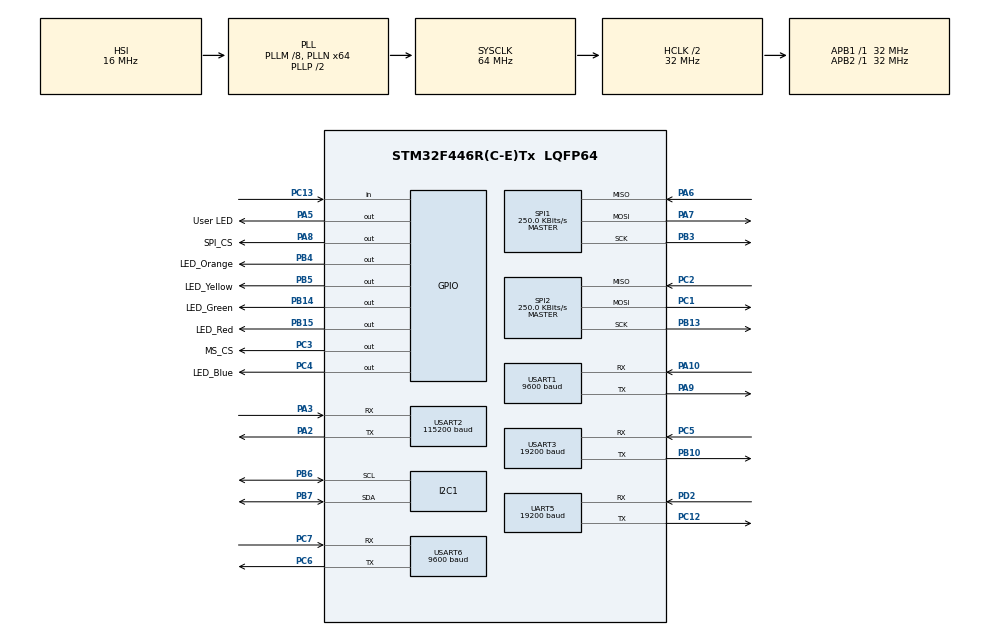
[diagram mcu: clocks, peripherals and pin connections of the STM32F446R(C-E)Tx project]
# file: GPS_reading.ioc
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IWDG.Prescaler=IWDG_PRESCALER_64
IWDG.Reload=2449
Mcu.Family=STM32F4
Mcu.Name=STM32F446R(C-E)Tx
Mcu.Package=LQFP64
NVIC.PriorityGroup=NVIC_PRIORITYGROUP_4
NVIC.USART1_IRQn=true\:0\:0\:true\:false\:true\:true\:true
NVIC.USART6_IRQn=true\:0\:0\:true\:false\:true\:true\:true
PA10.Mode=Asynchronous
PA10.Signal=USART1_RX
PA2.Mode=Asynchronous
PA2.Signal=USART2_TX
PA3.Mode=Asynchronous
PA3.Signal=USART2_RX
PA5.GPIO_Label=User LED
PA5.Signal=GPIO_Output
PA6.Mode=Full_Duplex_Master
PA6.Signal=SPI1_MISO
PA7.Mode=Full_Duplex_Master
PA7.Signal=SPI1_MOSI
PA8.GPIO_Label=SPI_CS
PA8.Signal=GPIO_Output
PA9.Mode=Asynchronous
PA9.Signal=USART1_TX
PB10.Mode=Asynchronous
PB10.Signal=USART3_TX
PB13.Mode=Full_Duplex_Master
PB13.Signal=SPI2_SCK
PB14.GPIO_Label=LED_Green
PB14.Signal=GPIO_Output
PB15.GPIO_Label=LED_Red
PB15.Signal=GPIO_Output
PB3.Mode=Full_Duplex_Master
PB3.Signal=SPI1_SCK
PB4.GPIO_Label=LED_Orange
PB4.Signal=GPIO_Output
PB5.GPIO_Label=LED_Yellow
PB5.Signal=GPIO_Output
PB6.Mode=I2C
PB6.Signal=I2C1_SCL
PB7.Mode=I2C
PB7.Signal=I2C1_SDA
PC1.Mode=Full_Duplex_Master
PC1.Signal=SPI2_MOSI
PC12.Mode=Asynchronous
PC12.Signal=UART5_TX
PC13.Signal=GPIO_Input
PC2.Mode=Full_Duplex_Master
PC2.Signal=SPI2_MISO
PC3.GPIO_Label=MS_CS
PC3.Signal=GPIO_Output
PC4.GPIO_Label=LED_Blue
PC4.Signal=GPIO_Output
PC5.Mode=Asynchronous
PC5.Signal=USART3_RX
PC6.Mode=Asynchronous
PC6.Signal=USART6_TX
PC7.Mode=Asynchronous
PC7.Signal=USART6_RX
PD2.Mode=Asynchronous
PD2.Signal=UART5_RX
ProjectManager.HeapSize=0x200
ProjectManager.StackSize=0x400
ProjectManager.TargetToolchain=STM32CubeIDE
RCC.AHBCLKDivider=RCC_SYSCLK_DIV2
RCC.AHBFreq_Value=32000000
RCC.APB1Freq_Value=32000000
RCC.APB1TimFreq_Value=32000000
RCC.APB2Freq_Value=32000000
RCC.APB2TimFreq_Value=32000000
RCC.CortexFreq_Value=32000000
RCC.HCLKFreq_Value=32000000
RCC.PLLM=8
RCC.PLLN=64
RCC.SYSCLKFreq_VALUE=64000000
RCC.SYSCLKSource=RCC_SYSCLKSOURCE_PLLCLK
RCC.USBFreq_Value=64000000
RCC.VCOOutputFreq_Value=128000000
SPI1.BaudRatePrescaler=SPI_BAUDRATEPRESCALER_128
SPI1.CalculateBaudRate=250.0 KBits/s
SPI1.Direction=SPI_DIRECTION_2LINES
SPI1.Mode=SPI_MODE_MASTER
SPI1.VirtualType=VM_MASTER
SPI2.BaudRatePrescaler=SPI_BAUDRATEPRESCALER_128
SPI2.CalculateBaudRate=250.0 KBits/s
SPI2.Direction=SPI_DIRECTION_2LINES
SPI2.Mode=SPI_MODE_MASTER
SPI2.VirtualType=VM_MASTER
UART5.BaudRate=19200
UART5.VirtualMode=Asynchronous
USART1.BaudRate=9600
USART1.VirtualMode=VM_ASYNC
USART2.BaudRate=115200
USART2.VirtualMode=VM_ASYNC
USART3.BaudRate=19200
USART3.Mode=MODE_TX_RX
USART3.VirtualMode=VM_ASYNC
USART6.BaudRate=9600
USART6.Mode=MODE_TX_RX
USART6.VirtualMode=VM_ASYNC
VP_IWDG_VS_IWDG.Mode=IWDG_Activate
board=custom

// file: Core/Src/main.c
/* USER CODE BEGIN Header */
/**
  ******************************************************************************
  * @file           : main.c
  * @brief          : Main program body
  ******************************************************************************
  * @attention
  *
  * Copyright (c) 2022 STMicroelectronics.
  * All rights reserved.
  *
  * This software is licensed under terms that can be found in the LICENSE file
  * in the root directory of this software component.
  * If no LICENSE file comes with this software, it is provided AS-IS.
  *
  ******************************************************************************
  */
/* USER CODE END Header */
#include "main.h"

/* USER CODE BEGIN Includes */
#include <stdbool.h>
#include <stdlib.h>
#include "am2320.h"
#include <math.h>
#include <stdio.h>
#include "MPU9250.h"
#include "ms5607.h"

/* USER CODE END Includes */

I2C_HandleTypeDef hi2c1;

IWDG_HandleTypeDef hiwdg;

SPI_HandleTypeDef hspi1;
SPI_HandleTypeDef hspi2;

UART_HandleTypeDef huart5;
UART_HandleTypeDef huart1;
UART_HandleTypeDef huart2;
UART_HandleTypeDef huart3;
UART_HandleTypeDef huart6;

/* USER CODE BEGIN PV */
/*
 * I2C1 - temp/hum
 *
 * SPI1 - 9DOF
 * SPI2 - MS5607
 *
 * huart1 - GNSS
 * huart2 - USB
 * huart3 - SD
 * huart4 - x
 * huart5 - tRF
 * huart6 - x
 */
uint16_t DataRecieved = 0; //delka prijatych zprav
uint8_t GPSbuffer[2000] = {};
HAL_StatusTypeDef hal_st1, hal_st2;
/* USER CODE END PV */

void SystemClock_Config(void);
static void MX_GPIO_Init(void);
static void MX_USART2_UART_Init(void);
static void MX_USART1_UART_Init(void);
static void MX_I2C1_Init(void);
static void MX_USART3_UART_Init(void);
static void MX_UART5_Init(void);
static void MX_SPI1_Init(void);
static void MX_SPI2_Init(void);
static void MX_USART6_UART_Init(void);
static void MX_IWDG_Init(void);

/* USER CODE BEGIN 0 */
// Reverses a string 'str' of length 'len'
//void parseRMC(uint8_t in[][11], uint8_t size)

void reverse(uint8_t* str, int len){
    int i = 0, j = len - 1, temp;
    while (i < j) {
        temp = str[i];
        str[i] = str[j];
        str[j] = temp;
        i++;
        j--;
    }
}

// Converts a given integer x to string str[].
// d is the number of digits required in the output.
// If d is more than the number of digits in x,
// then 0s are added at the beginning.

int intToStr(int x, uint8_t str[], int d){
    int i = 0;
    if(x<0)
        x = x*-1;
    while (x) {
        str[i++] = (x % 10) + '0';
        x = x / 10;
    }

    // If number of digits required is more, then
    // add 0s at the beginning
    while (i < d)
        str[i++] = '0';

    reverse(str, i);
    str[i] = '\0';
    return i;
}

void ftoa(float n, uint8_t* res, int beforepoint, int afterpoint, uint8_t sign){
    // Extract integer part
    short isnegative = 0;
    if(n<0)
        isnegative = 1;

    int ipart = (int)n;

    // Extract floating part
    float fpart = n - (float)ipart;

    // convert integer part to string
    int i = intToStr(ipart, res, beforepoint);

    // check for display option after point
    if (afterpoint != 0) {
        res[i] = '.'; // add dot

        // Get the value of fraction part upto given no.
        // of points after dot. The third parameter
        // is needed to handle cases like 233.007
        fpart = fpart * pow(10, afterpoint);

        intToStr((int)fpart, res + i + 1, afterpoint);
        if(sign){
			if(isnegative)
				res[0] = '-';
			else
				res[0] = '+';
        }
    }
}

void HAL_UARTEx_RxEventCallback(UART_HandleTypeDef *huart, uint16_t Size){
	//HAL_GPIO_TogglePin(GPIOA, GPIO_PIN_5);
	DataRecieved = Size;
	//HAL_UARTEx_ReceiveToIdle_IT(&huart2, buff, sizeof(buff));
	//hal_st1 = HAL_UARTEx_ReceiveToIdle_IT(&huart1, GPSbuffer, sizeof(GPSbuffer));

}

void HAL_UART_ErrorCallback(UART_HandleTypeDef *huart){
	uint32_t er = huart->ErrorCode;
}

void parseFrame(uint8_t* GPSparse, uint8_t* msg, uint8_t* framelen, uint8_t nframes, uint8_t maxlen, uint8_t linenumber){
    int parsepos = 0;
    for(int i = 0; i < nframes; i++){
      while(!((GPSparse[200*linenumber + parsepos] == ',') || (GPSparse[200*linenumber + parsepos] == '*'))){ //dokud se nenarazi na oddelovac ,
        msg[i*maxlen + framelen[i]] = GPSparse[200*linenumber + parsepos];
        framelen[i]++;
        parsepos++;
      }
      parsepos++;
    }
  parsepos = 0;
}

void mainParse(uint8_t* buffer, uint8_t* parse, uint8_t linelen, uint8_t* nsat){
	uint8_t k[15] = {};		//k-ty znak v n-tem radku
	uint16_t iter = 0;		//iteracni promenna
	uint8_t n = 0;			//n-ty radek

	while(iter < DataRecieved){
		if(!(buffer[iter] == '\n') || (buffer[iter] == '\r')){ //dokud nenastane konec radku
			parse[n*linelen +  k[n]] = buffer[iter];
			if((k[n] == 7) && (parse[n*linelen + 5] == 'V')){ //hledani GSV zpravy, 7. znak je pocet satelitu
				*nsat = parse[n*linelen + k[n]] - '0';
			}
			k[n]++; //posun o znak dopredu
		}
		else{
			parse[n*linelen + k[n]] = '\n'; //enter na konec radku
			n++; //novy radek
		}
		iter++; //posun v RAW zprave - GPSbuffer
	}
}

void ToggleLed(uint8_t colour){
	  switch (colour) {
		case 'R':
			HAL_GPIO_TogglePin(GPIOB, GPIO_PIN_15);
			break;
		case 'G':
			HAL_GPIO_TogglePin(GPIOB, GPIO_PIN_14);
			break;
		case 'B':
			HAL_GPIO_TogglePin(GPIOC, GPIO_PIN_14);
			break;
		case 'Y':
			HAL_GPIO_TogglePin(GPIOB, GPIO_PIN_5);
			break;
		case 'O':
			HAL_GPIO_TogglePin(GPIOB, GPIO_PIN_4);
			break;
		default:
			break;
	}
}

void SetLed(uint8_t colour){
	  switch (colour) {
		case 'R':
			HAL_GPIO_WritePin(GPIOB, GPIO_PIN_15, GPIO_PIN_SET);
			break;
		case 'G':
			HAL_GPIO_WritePin(GPIOB, GPIO_PIN_14, GPIO_PIN_SET);
			break;
		case 'B':
			HAL_GPIO_WritePin(GPIOC, GPIO_PIN_4, GPIO_PIN_SET);
			break;
		case 'Y':
			HAL_GPIO_WritePin(GPIOB, GPIO_PIN_5, GPIO_PIN_SET);
			break;
		case 'O':
			HAL_GPIO_WritePin(GPIOB, GPIO_PIN_4, GPIO_PIN_SET);
			break;
		default:
			break;
	}
}

void ResetLed(uint8_t colour){
	  switch (colour) {
		case 'R':
			HAL_GPIO_WritePin(GPIOB, GPIO_PIN_15, GPIO_PIN_RESET);
			break;
		case 'G':
			HAL_GPIO_WritePin(GPIOB, GPIO_PIN_14, GPIO_PIN_RESET);
			break;
		case 'B':
			HAL_GPIO_WritePin(GPIOC, GPIO_PIN_4, GPIO_PIN_RESET);
			break;
		case 'Y':
			HAL_GPIO_WritePin(GPIOB, GPIO_PIN_5, GPIO_PIN_RESET);
			break;
		case 'O':
			HAL_GPIO_WritePin(GPIOB, GPIO_PIN_4, GPIO_PIN_RESET);
			break;
		default:
			break;
	}
}

void filter(int16_t *buffer, int16_t *raw, float *beta){
			buffer[0] = buffer[0] + (beta[0]*(raw[0] - buffer[0]));
			buffer[1] = buffer[1] + (beta[0]*(raw[1] - buffer[1]));
			buffer[2] = buffer[2] + (beta[0]*(raw[2] - buffer[2]));
}

/* USER CODE END 0 */

int main(void)
{

  /* MCU Configuration--------------------------------------------------------*/

  /* Reset of all peripherals, Initializes the Flash interface and the Systick. */
  HAL_Init();

  /* Configure the system clock */
  SystemClock_Config();

  /* Initialize all configured peripherals */
  MX_GPIO_Init();
  MX_USART2_UART_Init();
  MX_USART1_UART_Init();
  MX_I2C1_Init();
  MX_USART3_UART_Init();
  MX_UART5_Init();
  MX_SPI1_Init();
  MX_SPI2_Init();
  MX_USART6_UART_Init();
  MX_IWDG_Init();
  /* USER CODE BEGIN 2 */

  MPU9250_Init();

  Am2320_HandleTypeDef Am2320_;
  Am2320_ = am2320_Init(&hi2c1, AM2320_ADDRESS);

  MS5607StateTypeDef MSstate;
  MSstate = MS5607_Init(&hspi2, GPIOC, GPIO_PIN_3);

  /* USER CODE END 2 */

  /* Infinite loop */
  /* USER CODE BEGIN WHILE */
  uint8_t newline = '\n';

  SetLed('R'); //R
  HAL_Delay(50);
  SetLed('G'); //G
  HAL_Delay(50);
  SetLed('B'); //B
  HAL_Delay(50);
  SetLed('Y');  //Y
  HAL_Delay(50);
  SetLed('O');  //O
  HAL_Delay(50);

  ResetLed('R'); //R
  HAL_Delay(10);
  ResetLed('G'); //G
  HAL_Delay(10);
  ResetLed('B'); //B
  HAL_Delay(10);
  ResetLed('Y'); //Y
  HAL_Delay(10);
  ResetLed('O');  //O
  HAL_Delay(10);

  int16_t AccData[3] = {}, GyroData[3] = {}, MagData[3] = {},AccFilt[3] = {0, 0, 10000}, AccMin = 10000;
  float beta = 0.3;

  hal_st1 = HAL_UARTEx_ReceiveToIdle_IT(&huart1, GPSbuffer, sizeof(GPSbuffer)); //TODO - why is calling it twice needed?
  hal_st1 = HAL_UARTEx_ReceiveToIdle_IT(&huart1, GPSbuffer, sizeof(GPSbuffer));

  MX_IWDG_Init();

    while (1)
    {
    /* USER CODE END WHILE */

    /* USER CODE BEGIN 3 */

    //Variables
    	uint8_t GPSparse[15][200] = {}; //NMEA rozdelena podle radku
    	uint8_t nsat = 0; //pocet GSV zprav

		uint8_t RMCposition[13] = {}; //delka daneho pole v RMC
		uint8_t RMC[13][11] = {}; //RMC buffer, GPS na 3,4,5,6

		uint8_t VTGposition[10] = {}; //delka daneho pole v RMC
		uint8_t VTG[10][10] = {}; 	//VTG buffer

		uint8_t GGAposition[15] = {}; //delka daneho pole v RMC
		uint8_t GGA[15][11] = {};	//GGA buffer

		uint8_t GSAposition[18] = {}; //delka daneho pole v RMC
		uint8_t GSA[18][5] = {}; //GSA buffer

		uint8_t GLLposition[8] = {}; //delka daneho pole v RMC
		uint8_t GLL[8][11] = {}; //GLL buffer

		int32_t MSpressure = 0;
		double MStemp = 0;

		float AMtemp, AMhum;

		uint8_t RXbuffer[200] = {[0 ... 199] = ';'}; //Buffer na radiovy spoj UART3

		uint8_t AMtempchar[5];
		uint8_t AMhumchar[5];

		uint8_t MStempchar[7];
		uint8_t MSpressurechar[7];

		if(DataRecieved){
			SetLed('R'); //R

			mainParse(GPSbuffer, GPSparse, 200, &nsat);

	//INDIVIDUAL FRAMES PARSING

			parseFrame(GPSparse, RMC, RMCposition, 13, 11, 0);
			parseFrame(GPSparse, VTG, VTGposition, 10, 10, 1);
			parseFrame(GPSparse, GGA, GGAposition, 15, 11, 2);
			parseFrame(GPSparse, GSA, GSAposition, 18, 5, 3);
			parseFrame(GPSparse, GLL, GLLposition, 8, 11, 4+nsat);

//Reading from sensors

		//AM2320 Temp & Hum read
			am2320_GetTemperatureAndHumidity(&Am2320_, &AMtemp, &AMhum);

		//MS5607 Temp Pressure read
			MS5607Update();
			HAL_Delay(10);
			MSpressure = MS5607GetPressurePa();
			MStemp = MS5607GetTemperatureC();

			uint8_t AccStr[3][6]={}, GyroStr[3][6]={}, MagStr[3][5]={}, AccMinStr[6] = {};

			for(int i = 0; i < 3; i++){
				itoa(AccData[i], AccStr[i], 10);
			}

			for(int i = 0; i < 3; i++){
				itoa(GyroData[i], GyroStr[i], 10);
			}

			for(int i = 0; i < 3; i++){
				itoa(MagData[i], MagStr[i], 10);
			}

			itoa(AccMin, AccMinStr, 10);

		//Number to text conversion
			ftoa(AMtemp, AMtempchar, 3, 1, 1); //pocet cislic pred teckou, za teckou a znamenko - 0/1
			ftoa(AMhum, AMhumchar, 3, 1, 0);

			ftoa((float)MStemp, MStempchar, 4, 2, 1);
			ftoa(MSpressure, MSpressurechar, 7, 0, 1);

	//Sesiti danych poli do RX zprávy
			uint16_t cpypos = 0;

			//cas
			memcpy(RXbuffer + cpypos, RMC[1], RMCposition[1]);
			cpypos = cpypos + RMCposition[1] + 1;

			//souradnice
			for(int i = 3; i <= 6; i++){
				memcpy(RXbuffer + cpypos, RMC[i], RMCposition[i]);
				cpypos = cpypos + RMCposition[i] + 1;
			}

			//nadmorska vyska
			memcpy(RXbuffer + cpypos, GGA[9], GGAposition[9]);
			cpypos = cpypos + GGAposition[9] + 1;

			//rychlost (kmph)
			memcpy(RXbuffer + cpypos, VTG[7], VTGposition[7]);
			cpypos = cpypos + VTGposition[7] + 1;

			memcpy(RXbuffer + cpypos, MStempchar, sizeof(MStempchar));
			cpypos = cpypos+sizeof(MStempchar) + 1;

			memcpy(RXbuffer + cpypos, MSpressurechar, sizeof(MSpressurechar));
			cpypos = cpypos+sizeof(MSpressurechar) + 1;

			//memcpy(RXbuffer + cpypos, &newline, sizeof(newline));

			HAL_UART_Transmit(&huart5, RXbuffer, cpypos+1, HAL_MAX_DELAY);
			HAL_UART_Transmit(&huart5, &newline, 1, HAL_MAX_DELAY);

		//Sesiti danych poli do SD zpravy
			uint8_t SDbuffer[300] = {[0 ... 298] = ';', '\n'}; //Buffer pro ukladani dat na SD kartu
			memcpy(SDbuffer, RXbuffer, cpypos); //kopirovani RX bufferu

			memcpy(SDbuffer + cpypos, AMtempchar, sizeof(AMtempchar));
			cpypos = cpypos+sizeof(AMtempchar) + 1;

			memcpy(SDbuffer + cpypos, AMhumchar, sizeof(AMhumchar));
			cpypos = cpypos+sizeof(AMhumchar) + 1;

			//fix type
			memcpy(SDbuffer + cpypos, GGA[6], GGAposition[6]);
			cpypos = cpypos + GGAposition[6] + 1;

			//pocet satelitu
			memcpy(SDbuffer + cpypos, GGA[7], GGAposition[7]);
			cpypos = cpypos + GGAposition[7] + 1;

			//PDOP
			memcpy(SDbuffer + cpypos, GSA[15], GSAposition[15]);
			cpypos = cpypos + GSAposition[15] + 1;
			//HDOP
			memcpy(SDbuffer + cpypos, GSA[16], GSAposition[16]);
			cpypos = cpypos + GSAposition[16] + 1;
			//VDOP
			memcpy(SDbuffer + cpypos, GSA[17], GSAposition[17]);
			cpypos = cpypos + GSAposition[17] + 1;

			memcpy(SDbuffer + cpypos, AccMinStr, sizeof(AccMinStr));
			cpypos = cpypos + sizeof(AccMinStr) + 1;

			for(int i = 0; i<3; i++){
				memcpy(SDbuffer + cpypos, AccStr[i], sizeof(AccStr[i]));
				cpypos = cpypos + sizeof(AccStr[i]) + 1;
			}

			for(int i = 0; i<3; i++){
				memcpy(SDbuffer + cpypos, GyroStr[i], sizeof(GyroStr[i]));
				cpypos = cpypos + sizeof(GyroStr[i]) + 1;
			}

			for(int i = 0; i<3; i++){
				memcpy(SDbuffer + cpypos, MagStr[i], sizeof(MagStr[i]));
				cpypos = cpypos + sizeof(MagStr[i]) + 1;
			}

			memcpy(SDbuffer + cpypos, &newline, sizeof(newline));
			cpypos = cpypos + sizeof(newline);

			HAL_UART_Transmit(&huart3, SDbuffer, cpypos, HAL_MAX_DELAY);

			//Cisteni
			memset(RXbuffer, 0, sizeof(RXbuffer));
			memset(GPSbuffer, 0, sizeof(GPSbuffer));
			DataRecieved = 0;
			AccMin = 10000; //reset min value
			HAL_GPIO_WritePin(GPIOB, GPIO_PIN_15, GPIO_PIN_RESET);

		}
		hal_st1 = HAL_UARTEx_ReceiveToIdle_IT(&huart1, GPSbuffer, sizeof(GPSbuffer));
		MPU9250_GetData(AccData, GyroData, MagData);
		filter(AccFilt, AccData, &beta);
		if(AccFilt[2] < AccMin){
			AccMin = AccFilt[2];
		}
		HAL_IWDG_Refresh(&hiwdg);
    }
  /* USER CODE END 3 */
}

void SystemClock_Config(void)
{
  RCC_OscInitTypeDef RCC_OscInitStruct = {0};
  RCC_ClkInitTypeDef RCC_ClkInitStruct = {0};

  /** Configure the main internal regulator output voltage
  */
  __HAL_RCC_PWR_CLK_ENABLE();
  __HAL_PWR_VOLTAGESCALING_CONFIG(PWR_REGULATOR_VOLTAGE_SCALE3);
  /** Initializes the RCC Oscillators according to the specified parameters
  * in the RCC_OscInitTypeDef structure.
  */
  RCC_OscInitStruct.OscillatorType = RCC_OSCILLATORTYPE_HSI|RCC_OSCILLATORTYPE_LSI;
  RCC_OscInitStruct.HSIState = RCC_HSI_ON;
  RCC_OscInitStruct.HSICalibrationValue = RCC_HSICALIBRATION_DEFAULT;
  RCC_OscInitStruct.LSIState = RCC_LSI_ON;
  RCC_OscInitStruct.PLL.PLLState = RCC_PLL_ON;
  RCC_OscInitStruct.PLL.PLLSource = RCC_PLLSOURCE_HSI;
  RCC_OscInitStruct.PLL.PLLM = 8;
  RCC_OscInitStruct.PLL.PLLN = 64;
  RCC_OscInitStruct.PLL.PLLP = RCC_PLLP_DIV2;
  RCC_OscInitStruct.PLL.PLLQ = 2;
  RCC_OscInitStruct.PLL.PLLR = 2;
  if (HAL_RCC_OscConfig(&RCC_OscInitStruct) != HAL_OK)
  {
    Error_Handler();
  }
  /** Initializes the CPU, AHB and APB buses clocks
  */
  RCC_ClkInitStruct.ClockType = RCC_CLOCKTYPE_HCLK|RCC_CLOCKTYPE_SYSCLK
                              |RCC_CLOCKTYPE_PCLK1|RCC_CLOCKTYPE_PCLK2;
  RCC_ClkInitStruct.SYSCLKSource = RCC_SYSCLKSOURCE_PLLCLK;
  RCC_ClkInitStruct.AHBCLKDivider = RCC_SYSCLK_DIV2;
  RCC_ClkInitStruct.APB1CLKDivider = RCC_HCLK_DIV1;
  RCC_ClkInitStruct.APB2CLKDivider = RCC_HCLK_DIV1;

  if (HAL_RCC_ClockConfig(&RCC_ClkInitStruct, FLASH_LATENCY_1) != HAL_OK)
  {
    Error_Handler();
  }
}

static void MX_I2C1_Init(void)
{

  hi2c1.Instance = I2C1;
  hi2c1.Init.ClockSpeed = 100000;
  hi2c1.Init.DutyCycle = I2C_DUTYCYCLE_2;
  hi2c1.Init.OwnAddress1 = 0;
  hi2c1.Init.AddressingMode = I2C_ADDRESSINGMODE_7BIT;
  hi2c1.Init.DualAddressMode = I2C_DUALADDRESS_DISABLE;
  hi2c1.Init.OwnAddress2 = 0;
  hi2c1.Init.GeneralCallMode = I2C_GENERALCALL_DISABLE;
  hi2c1.Init.NoStretchMode = I2C_NOSTRETCH_DISABLE;
  if (HAL_I2C_Init(&hi2c1) != HAL_OK)
  {
    Error_Handler();
  }

}

static void MX_IWDG_Init(void)
{

  hiwdg.Instance = IWDG;
  hiwdg.Init.Prescaler = IWDG_PRESCALER_64;
  hiwdg.Init.Reload = 2449;
  if (HAL_IWDG_Init(&hiwdg) != HAL_OK)
  {
    Error_Handler();
  }

}

static void MX_SPI1_Init(void)
{

  /* SPI1 parameter configuration*/
  hspi1.Instance = SPI1;
  hspi1.Init.Mode = SPI_MODE_MASTER;
  hspi1.Init.Direction = SPI_DIRECTION_2LINES;
  hspi1.Init.DataSize = SPI_DATASIZE_8BIT;
  hspi1.Init.CLKPolarity = SPI_POLARITY_LOW;
  hspi1.Init.CLKPhase = SPI_PHASE_1EDGE;
  hspi1.Init.NSS = SPI_NSS_SOFT;
  hspi1.Init.BaudRatePrescaler = SPI_BAUDRATEPRESCALER_128;
  hspi1.Init.FirstBit = SPI_FIRSTBIT_MSB;
  hspi1.Init.TIMode = SPI_TIMODE_DISABLE;
  hspi1.Init.CRCCalculation = SPI_CRCCALCULATION_DISABLE;
  hspi1.Init.CRCPolynomial = 10;
  if (HAL_SPI_Init(&hspi1) != HAL_OK)
  {
    Error_Handler();
  }

}

static void MX_SPI2_Init(void)
{

  /* SPI2 parameter configuration*/
  hspi2.Instance = SPI2;
  hspi2.Init.Mode = SPI_MODE_MASTER;
  hspi2.Init.Direction = SPI_DIRECTION_2LINES;
  hspi2.Init.DataSize = SPI_DATASIZE_8BIT;
  hspi2.Init.CLKPolarity = SPI_POLARITY_LOW;
  hspi2.Init.CLKPhase = SPI_PHASE_1EDGE;
  hspi2.Init.NSS = SPI_NSS_SOFT;
  hspi2.Init.BaudRatePrescaler = SPI_BAUDRATEPRESCALER_128;
  hspi2.Init.FirstBit = SPI_FIRSTBIT_MSB;
  hspi2.Init.TIMode = SPI_TIMODE_DISABLE;
  hspi2.Init.CRCCalculation = SPI_CRCCALCULATION_DISABLE;
  hspi2.Init.CRCPolynomial = 10;
  if (HAL_SPI_Init(&hspi2) != HAL_OK)
  {
    Error_Handler();
  }

}

static void MX_UART5_Init(void)
{

  huart5.Instance = UART5;
  huart5.Init.BaudRate = 19200;
  huart5.Init.WordLength = UART_WORDLENGTH_8B;
  huart5.Init.StopBits = UART_STOPBITS_1;
  huart5.Init.Parity = UART_PARITY_NONE;
  huart5.Init.Mode = UART_MODE_TX_RX;
  huart5.Init.HwFlowCtl = UART_HWCONTROL_NONE;
  huart5.Init.OverSampling = UART_OVERSAMPLING_16;
  if (HAL_UART_Init(&huart5) != HAL_OK)
  {
    Error_Handler();
  }

}

static void MX_USART1_UART_Init(void)
{

  huart1.Instance = USART1;
  huart1.Init.BaudRate = 9600;
  huart1.Init.WordLength = UART_WORDLENGTH_8B;
  huart1.Init.StopBits = UART_STOPBITS_1;
  huart1.Init.Parity = UART_PARITY_NONE;
  huart1.Init.Mode = UART_MODE_TX_RX;
  huart1.Init.HwFlowCtl = UART_HWCONTROL_NONE;
  huart1.Init.OverSampling = UART_OVERSAMPLING_16;
  if (HAL_UART_Init(&huart1) != HAL_OK)
  {
    Error_Handler();
  }

}

static void MX_USART2_UART_Init(void)
{

  huart2.Instance = USART2;
  huart2.Init.BaudRate = 115200;
  huart2.Init.WordLength = UART_WORDLENGTH_8B;
  huart2.Init.StopBits = UART_STOPBITS_1;
  huart2.Init.Parity = UART_PARITY_NONE;
  huart2.Init.Mode = UART_MODE_TX_RX;
  huart2.Init.HwFlowCtl = UART_HWCONTROL_NONE;
  huart2.Init.OverSampling = UART_OVERSAMPLING_16;
  if (HAL_UART_Init(&huart2) != HAL_OK)
  {
    Error_Handler();
  }

}

static void MX_USART3_UART_Init(void)
{

  huart3.Instance = USART3;
  huart3.Init.BaudRate = 19200;
  huart3.Init.WordLength = UART_WORDLENGTH_8B;
  huart3.Init.StopBits = UART_STOPBITS_1;
  huart3.Init.Parity = UART_PARITY_NONE;
  huart3.Init.Mode = UART_MODE_TX_RX;
  huart3.Init.HwFlowCtl = UART_HWCONTROL_NONE;
  huart3.Init.OverSampling = UART_OVERSAMPLING_16;
  if (HAL_UART_Init(&huart3) != HAL_OK)
  {
    Error_Handler();
  }

}

static void MX_USART6_UART_Init(void)
{

  huart6.Instance = USART6;
  huart6.Init.BaudRate = 9600;
  huart6.Init.WordLength = UART_WORDLENGTH_8B;
  huart6.Init.StopBits = UART_STOPBITS_1;
  huart6.Init.Parity = UART_PARITY_NONE;
  huart6.Init.Mode = UART_MODE_TX_RX;
  huart6.Init.HwFlowCtl = UART_HWCONTROL_NONE;
  huart6.Init.OverSampling = UART_OVERSAMPLING_16;
  if (HAL_UART_Init(&huart6) != HAL_OK)
  {
    Error_Handler();
  }

}

static void MX_GPIO_Init(void)
{
  GPIO_InitTypeDef GPIO_InitStruct = {0};

  /* GPIO Ports Clock Enable */
  __HAL_RCC_GPIOC_CLK_ENABLE();
  __HAL_RCC_GPIOA_CLK_ENABLE();
  __HAL_RCC_GPIOB_CLK_ENABLE();
  __HAL_RCC_GPIOD_CLK_ENABLE();

  /*Configure GPIO pin Output Level */
  HAL_GPIO_WritePin(GPIOC, MS_CS_Pin|LED_Blue_Pin, GPIO_PIN_RESET);

  /*Configure GPIO pin Output Level */
  HAL_GPIO_WritePin(GPIOA, User_LED_Pin|SPI_CS_Pin, GPIO_PIN_RESET);

  /*Configure GPIO pin Output Level */
  HAL_GPIO_WritePin(GPIOB, LED_Green_Pin|LED_Red_Pin|LED_Orange_Pin|LED_Yellow_Pin, GPIO_PIN_RESET);

  /*Configure GPIO pin : PC13 */
  GPIO_InitStruct.Pin = GPIO_PIN_13;
  GPIO_InitStruct.Mode = GPIO_MODE_INPUT;
  GPIO_InitStruct.Pull = GPIO_NOPULL;
  HAL_GPIO_Init(GPIOC, &GPIO_InitStruct);

  /*Configure GPIO pins : MS_CS_Pin LED_Blue_Pin */
  GPIO_InitStruct.Pin = MS_CS_Pin|LED_Blue_Pin;
  GPIO_InitStruct.Mode = GPIO_MODE_OUTPUT_PP;
  GPIO_InitStruct.Pull = GPIO_NOPULL;
  GPIO_InitStruct.Speed = GPIO_SPEED_FREQ_LOW;
  HAL_GPIO_Init(GPIOC, &GPIO_InitStruct);

  /*Configure GPIO pins : User_LED_Pin SPI_CS_Pin */
  GPIO_InitStruct.Pin = User_LED_Pin|SPI_CS_Pin;
  GPIO_InitStruct.Mode = GPIO_MODE_OUTPUT_PP;
  GPIO_InitStruct.Pull = GPIO_NOPULL;
  GPIO_InitStruct.Speed = GPIO_SPEED_FREQ_LOW;
  HAL_GPIO_Init(GPIOA, &GPIO_InitStruct);

  /*Configure GPIO pins : LED_Green_Pin LED_Red_Pin LED_Orange_Pin LED_Yellow_Pin */
  GPIO_InitStruct.Pin = LED_Green_Pin|LED_Red_Pin|LED_Orange_Pin|LED_Yellow_Pin;
  GPIO_InitStruct.Mode = GPIO_MODE_OUTPUT_PP;
  GPIO_InitStruct.Pull = GPIO_NOPULL;
  GPIO_InitStruct.Speed = GPIO_SPEED_FREQ_LOW;
  HAL_GPIO_Init(GPIOB, &GPIO_InitStruct);

}

void Error_Handler(void)
{
  __disable_irq();
  while (1)
  {
  }
}
